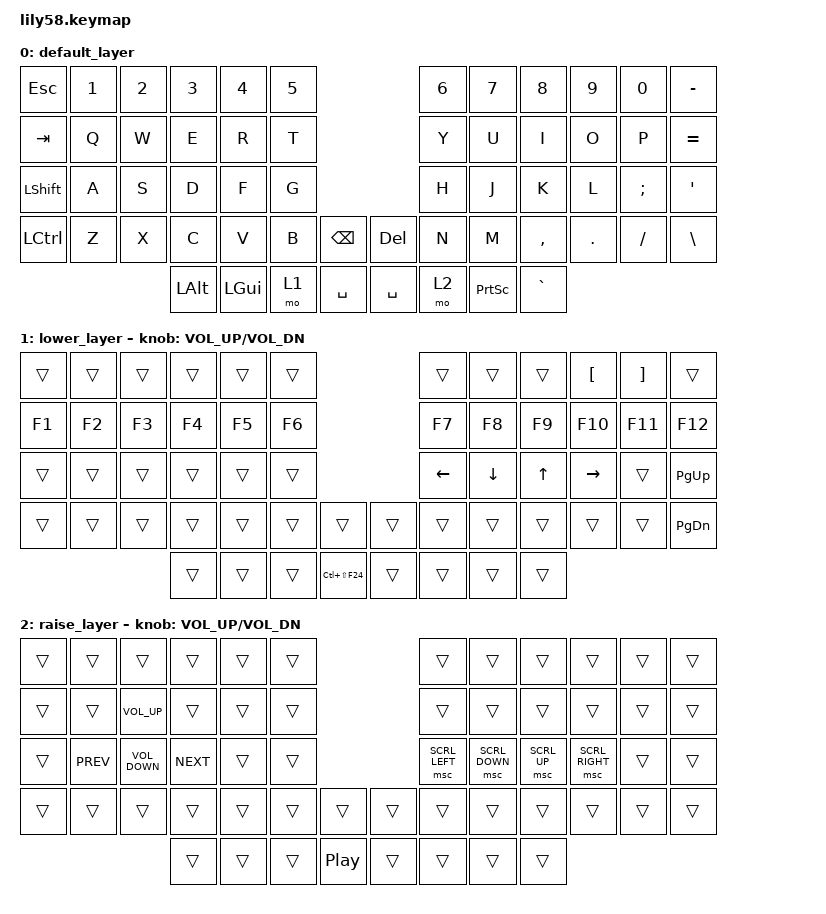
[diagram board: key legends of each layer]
#include <behaviors.dtsi>
#include <dt-bindings/zmk/keys.h>
#include <dt-bindings/zmk/pointing.h>

/ {
    combos {
        compatible = "zmk,combos";

        Enter {
            bindings = <&kp ENTER>;
            key-positions = <53 54>;
        };
    };

    keymap {
        compatible = "zmk,keymap";

        default_layer {
            // ------------------------------------------------------------------------------------------------------------
            // |  ESC  |  1  |  2  |  3   |  4   |  5   |                   |  6   |  7    |  8    |  9   |   0   |   `   |
            // |  TAB  |  Q  |  W  |  E   |  R   |  T   |                   |  Y   |  U    |  I    |  O   |   P   |   -   |
            // |  CTRL |  A  |  S  |  D   |  F   |  G   |                   |  H   |  J    |  K    |  L   |   ;   |   '   |
            // | SHIFT |  Z  |  X  |  C   |  V   |  B   |   "["  |  |  "]"  |  N   |  M    |  ,    |  .   |   /   | SHIFT |
            //                     | ALT  | GUI  | LOWER|  SPACE |  | ENTER | RAISE| BSPC  | GUI   |

            bindings = <
&kp ESC         &kp N1  &kp N2  &kp N3    &kp N4    &kp N5                               &kp N6  &kp N7           &kp N8     &kp N9   &kp N0    &kp MINUS
&kp TAB         &kp Q   &kp W   &kp E     &kp R     &kp T                                &kp Y   &kp U            &kp I      &kp O    &kp P     &kp EQUAL
&kp LEFT_SHIFT  &kp A   &kp S   &kp D     &kp F     &kp G                                &kp H   &kp J            &kp K      &kp L    &kp SEMI  &kp SQT
&kp LCTRL       &kp Z   &kp X   &kp C     &kp V     &kp B   &kp BACKSPACE    &kp DELETE  &kp N   &kp M            &kp COMMA  &kp DOT  &kp FSLH  &kp BACKSLASH
                                &kp LALT  &kp LGUI  &mo 1   &kp SPACE        &kp SPACE   &mo 2   &kp PRINTSCREEN  &kp GRAVE
            >;
        };

        lower_layer {
            // ------------------------------------------------------------------------------------------------------------
            // | BTCLR | BT1 | BT2 |  BT3 |  BT4 |  BT5 |                   |      |       |       |      |       |       |
            // |  F1   |  F2 |  F3 |  F4  |  F5  |  F6  |                   |  F7  |  F8   |  F9   |  F10 |  F11  |  F12  |
            // |   `   |  !  |  @  |  #   |  $   |  %   |                   |  ^   |  &    |  *    |  (   |   )   |   ~   |
            // |       |     |     |      |      |      |        |  |       |      |  _    |  +    |  {   |   }   |  "|"  |
            //                     |      |      |      |        |  |       |      |       |       |

            bindings = <
&trans  &trans  &trans  &trans  &trans  &trans                             &trans    &trans          &trans        &kp LEFT_BRACKET  &kp RIGHT_BRACKET  &trans
&kp F1  &kp F2  &kp F3  &kp F4  &kp F5  &kp F6                             &kp F7    &kp F8          &kp F9        &kp F10           &kp F11            &kp F12
&trans  &trans  &trans  &trans  &trans  &trans                             &kp LEFT  &kp DOWN_ARROW  &kp UP_ARROW  &kp RIGHT         &trans             &kp PAGE_UP
&trans  &trans  &trans  &trans  &trans  &trans  &trans             &trans  &trans    &trans          &trans        &trans            &trans             &kp PAGE_DOWN
                        &trans  &trans  &trans  &kp LC(LS(F24))    &trans  &trans    &trans          &trans
            >;

            sensor-bindings = <&inc_dec_kp C_VOL_UP C_VOL_DN>;
        };

        raise_layer {
            // ------------------------------------------------------------------------------------------------------------
            // |       |     |     |      |      |      |                   |      |       |       |      |       |       |
            // |   `   |  1  |  2  |  3   |  4   |  5   |                   |  6   |   7   |   8   |  9   |   0   |       |
            // |   F1  |  F2 |  F3 |  F4  |  F5  |  F6  |                   |      |   <-  |   v   |  ^   |  ->   |       |
            // |   F7  |  F8 |  F9 |  F10 |  F11 |  F12 |        |  |       |  +   |   -   |   =   |  [   |   ]   |   \   |
            //                     |      |      |      |        |  |       |      |       |       |

            bindings = <
&trans  &trans      &trans             &trans      &trans  &trans                              &trans          &trans          &trans        &trans           &trans  &trans
&trans  &trans      &kp C_VOLUME_UP    &trans      &trans  &trans                              &trans          &trans          &trans        &trans           &trans  &trans
&trans  &kp C_PREV  &kp C_VOLUME_DOWN  &kp C_NEXT  &trans  &trans                              &msc SCRL_LEFT  &msc SCRL_DOWN  &msc SCRL_UP  &msc SCRL_RIGHT  &trans  &trans
&trans  &trans      &trans             &trans      &trans  &trans  &trans              &trans  &trans          &trans          &trans        &trans           &trans  &trans
                                       &trans      &trans  &trans  &kp C_PLAY_PAUSE    &trans  &trans          &trans          &trans
            >;

            sensor-bindings = <&inc_dec_kp C_VOL_UP C_VOL_DN>;
        };
    };
};
